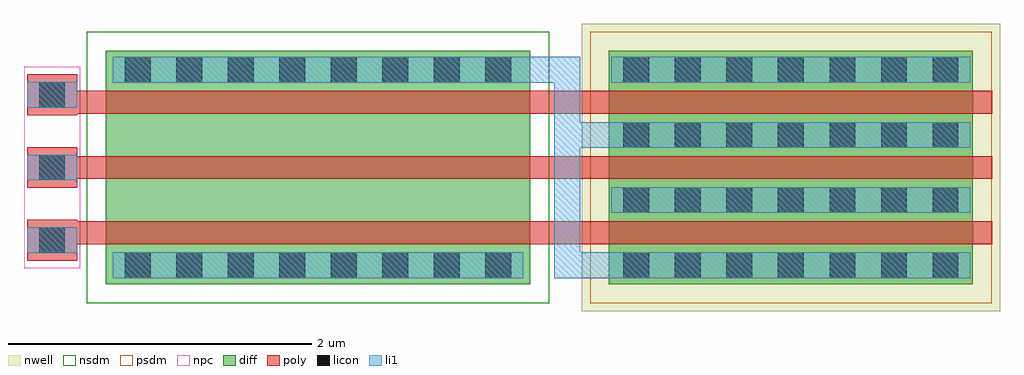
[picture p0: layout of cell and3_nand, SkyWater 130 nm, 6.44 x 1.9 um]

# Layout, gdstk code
import gdstk
lib = gdstk.Library(unit=1e-6, precision=1e-09)
def R(c, l, rs):  # rectangles x0, y0, x1, y1
    for r in rs: c.add(gdstk.rectangle(r[:2], r[2:], *l))
def A(c, l, x, y, w, h, nx, ny, dx, dy):  # array of equal rectangles
    R(c, l, [(x+i*dx, y+j*dy, x+i*dx+w, y+j*dy+h) for i in range(nx) for j in range(ny)])
nwell = (64, 20)
diff = (65, 20)
poly = (66, 20)
licon = (66, 44)
li1 = (67, 20)
nsdm = (93, 44)
psdm = (94, 20)
npc = (95, 20)

polyc_1x1h = lib.new_cell('polyc_1x1h')
R(polyc_1x1h, poly, [(-0.08,-0.05,0.25,0.22)])
R(polyc_1x1h, licon, [(0,0,0.17,0.17)])
R(polyc_1x1h, li1, [(-0.08,0,0.25,0.17)])
R(polyc_1x1h, npc, [(-0.1,-0.1,0.27,0.27)])

ndiffc_1x8h = lib.new_cell('ndiffc_1x8h')
R(ndiffc_1x8h, diff, [(-0.06,-0.04,2.61,0.21)])
A(ndiffc_1x8h, licon, 0, 0, 0.17, 0.17, 8, 1, 0.34, 0)
R(ndiffc_1x8h, li1, [(-0.08,0,2.63,0.17)])
R(ndiffc_1x8h, nsdm, [(-0.185,-0.165,2.735,0.335)])

pdiffc_1x7h = lib.new_cell('pdiffc_1x7h')
R(pdiffc_1x7h, nwell, [(-0.24,-0.22,2.45,0.39)])
R(pdiffc_1x7h, diff, [(-0.06,-0.04,2.27,0.21)])
A(pdiffc_1x7h, licon, 0, 0, 0.17, 0.17, 7, 1, 0.34, 0)
R(pdiffc_1x7h, li1, [(-0.08,0,2.29,0.17)])
R(pdiffc_1x7h, psdm, [(-0.185,-0.165,2.395,0.335)])

ptx__nmos_svt_2800_150_3 = lib.new_cell('ptx__nmos_svt_2800_150_3__pmos_svt_2400_150_3')
R(ptx__nmos_svt_2800_150_3, nwell, [(3.14,-0.18,5.9,1.72)])
R(ptx__nmos_svt_2800_150_3, diff, [(0,0,2.8,1.54), (3.32,0,5.72,1.54)])
A(ptx__nmos_svt_2800_150_3, poly, -0.19, 0.265, 6.04, 0.15, 1, 3, 0, 0.43)
R(ptx__nmos_svt_2800_150_3, nsdm, [(-0.125,-0.125,2.925,1.665)])
R(ptx__nmos_svt_2800_150_3, psdm, [(3.195,-0.125,5.845,1.665)])
R(ptx__nmos_svt_2800_150_3, npc, [(-0.54,0.105,-0.17,1.435)])
ptx__nmos_svt_2800_150_3.add(gdstk.Reference(polyc_1x1h, (-0.44,0.205)))
ptx__nmos_svt_2800_150_3.add(gdstk.Reference(polyc_1x1h, (-0.44,0.685)))
ptx__nmos_svt_2800_150_3.add(gdstk.Reference(polyc_1x1h, (-0.44,1.165)))
ptx__nmos_svt_2800_150_3.add(gdstk.Reference(ndiffc_1x8h, (0.125,0.04)))
ptx__nmos_svt_2800_150_3.add(gdstk.Reference(pdiffc_1x7h, (3.415,0.04)))
ptx__nmos_svt_2800_150_3.add(gdstk.Reference(pdiffc_1x7h, (3.415,0.47)))
ptx__nmos_svt_2800_150_3.add(gdstk.Reference(pdiffc_1x7h, (3.415,0.9)))
ptx__nmos_svt_2800_150_3.add(gdstk.Reference(ndiffc_1x8h, (0.125,1.33)))
ptx__nmos_svt_2800_150_3.add(gdstk.Reference(pdiffc_1x7h, (3.415,1.33)))

and3_nand = lib.new_cell('and3_nand')
R(and3_nand, li1, [(2.96,0.04,3.13,1.5), (2.96,0.04,5.705,0.21), (2.96,0.9,5.705,1.07), (0.045,1.33,3.13,1.5)])
and3_nand.add(gdstk.Reference(ptx__nmos_svt_2800_150_3, (0,0)))

lib.write_gds('and3_nand.gds')
